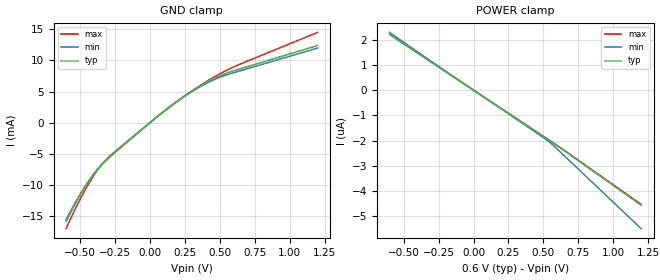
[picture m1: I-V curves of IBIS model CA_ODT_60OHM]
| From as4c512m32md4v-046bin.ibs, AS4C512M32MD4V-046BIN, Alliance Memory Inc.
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|   MODEL: CA_ODT_60OHM
[Model]   CA_ODT_60OHM
Model_type   Input
Vinl   = 0.080V
Vinh   = 0.220V
|   typ   min   max
C_comp   0.525pF   0.473pF   0.578pF
[Voltage Range]   0.600V   0.570V   0.650V
[Temperature Range]   25.0   95.0   -40.0
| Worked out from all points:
|   GND clamp passes 1 mA (typ) near -0.05 V on its own axis
[GND Clamp]
|   Voltage   I(typ)   I(min)   I(max)
-600mV    -15.88mA   -15.53mA   -17mA
-520mV    -12.44mA   -12.27mA   -13.19mA
-450mV    -9.778mA   -9.739mA   -10.25mA
-390mV    -7.877mA   -7.908mA   -8.074mA
-330mV    -6.398mA   -6.421mA   -6.326mA
-250mV    -4.771mA   -4.761mA   -4.631mA
20mV      376.5uA    372.3uA    369.3uA
220mV     3.843mA    3.789mA    3.829mA
390mV     6.267mA    6.14mA     6.391mA
540mV     7.862mA    7.608mA    8.298mA
650mV     8.663mA    8.348mA    9.44mA
1.2V      12.38mA    11.97mA    14.48mA
[POWER Clamp]
|   Voltage   I(typ)   I(min)   I(max)
-600mV    2.209uA    2.286uA    2.21uA
540mV     -1.977uA   -2.04uA    -1.975uA
650mV     -2.398uA   -2.599uA   -2.382uA
1.2V      -4.555uA   -5.484uA   -4.524uA
